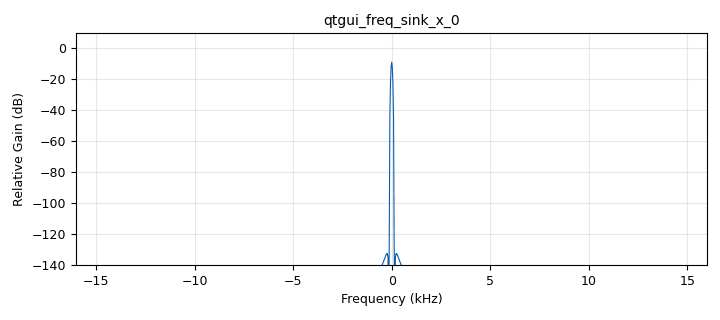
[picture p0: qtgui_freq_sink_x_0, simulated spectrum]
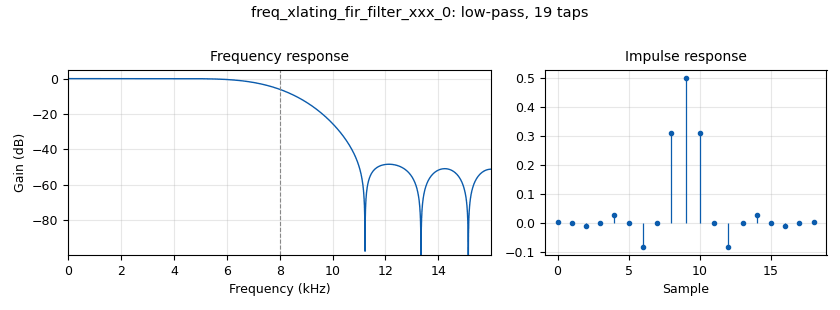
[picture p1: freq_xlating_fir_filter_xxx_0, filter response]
options:
  parameters:
    author: yango
    generate_options: qt_gui
    id: filterTapsBlock
    output_language: python
    title: 'Filter Taps '
  states: {}

blocks:
- name: frequency
  id: variable_qtgui_range
  parameters:
    start: '-samp_rate/2'
    step: '100'
    stop: samp_rate/2
    value: '0'
  states: {}
- name: lowPassFilterTaps
  id: variable_low_pass_filter_taps
  parameters:
    cutoff_freq: samp_rate/4
    gain: '1.0'
    samp_rate: samp_rate
    width: samp_rate/8
    win: window.WIN_HAMMING
  states: {}
- name: samp_rate
  id: variable
  parameters:
    value: '32000'
  states: {}
- name: analog_sig_source_x_0
  id: analog_sig_source_x
  parameters:
    amp: '1'
    freq: frequency
    offset: '0'
    phase: '0'
    samp_rate: samp_rate
    type: complex
    waveform: analog.GR_COS_WAVE
  states: {}
- name: blocks_throttle_0
  id: blocks_throttle
  parameters:
    samples_per_second: samp_rate
    type: complex
  states: {}
- name: freq_xlating_fir_filter_xxx_0
  id: freq_xlating_fir_filter_xxx
  parameters:
    center_freq: frequency
    decim: '1'
    samp_rate: samp_rate
    taps: lowPassFilterTaps
    type: ccc
  states: {}
- name: qtgui_freq_sink_x_0
  id: qtgui_freq_sink_x
  parameters:
    bw: samp_rate
    ctrlpanel: 'True'
    fc: frequency
    fftsize: '1024'
    type: complex
  states: {}

connections:
- [analog_sig_source_x_0, '0', freq_xlating_fir_filter_xxx_0, '0']
- [blocks_throttle_0, '0', qtgui_freq_sink_x_0, '0']
- [freq_xlating_fir_filter_xxx_0, '0', blocks_throttle_0, '0']

metadata:
  file_format: 1
